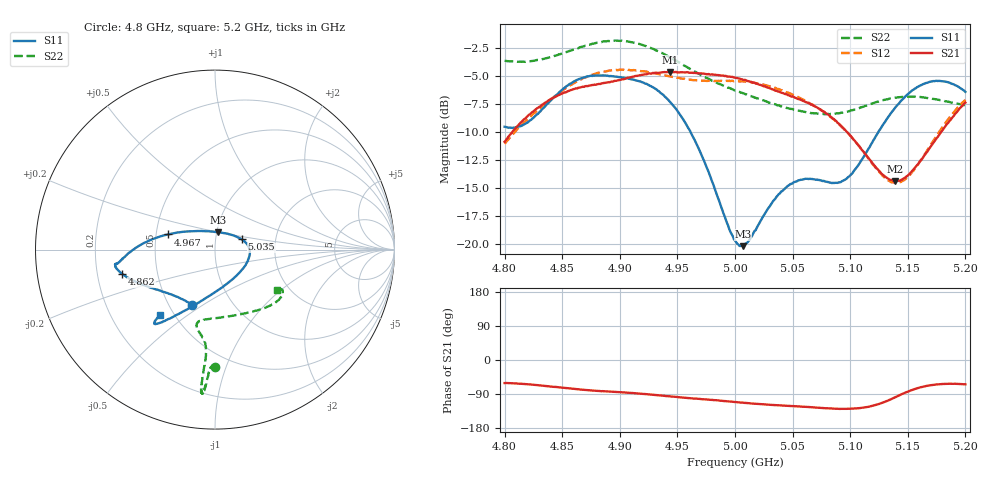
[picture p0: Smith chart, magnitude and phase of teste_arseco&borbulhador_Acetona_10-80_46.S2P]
! Network Analyzer HP8722D
! Hewlett-Packard
! Data name: Linha & Wilkinson
! Saver's name: Rodrigo Anjos
! Comments: Teste da utilização de aquisição
! continua pelo VNA HP8722D
! Time and date: 17/4/2025 14:44
!  Frequency  S11  S21  S12  S22
# HZ  S  MA R 50
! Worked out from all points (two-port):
!   401 points, 4.8 GHz to 5.2 GHz, reference 50 ohm
!   highest |S21| = -4.67 dB at 4.944 GHz (marker M1); lowest = -14.4 dB at 5.139 GHz (marker M2)
!   |S21| within 3 dB of the highest: 4.832 GHz to 5.068 GHz (236.2 MHz wide, 4.77 % of centre); 5.197552 GHz to end of sweep
!   lowest |S11| = -20.2 dB at 5.007 GHz (marker M3), VSWR 1.22, Z = 51 + j9.89 ohm
!   |S11| at or under -10 dB: 4.961 GHz to 5.125 GHz (163.2 MHz wide, 3.24 % of centre)
!   |S22| runs from -8.4 to -1.9 dB; largest |S21 - S12| = 0.88
!   S11 on the Smith chart (normalised r, x): 4.8 GHz: 0.65, -0.45; 4.862 GHz: 0.31, -0.12; 4.967 GHz: 0.58, +0.11; 5.035 GHz: 1.34, +0.16; 5.2 GHz: 0.42, -0.39
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4.8e9  0.3329 -113.1  0.2855 -60.8  0.2795 -174.9  0.6564 -89.9
4.819e9  0.346 -133.0  0.367 -63.8  0.356 -173.4  0.6494 -91.4
4.862e9  0.5351 -165.4  0.4936 -76.9  0.5273 -176.5  0.7418 -93.8
4.867e9  0.5481 -167.3  0.5003 -78.3  0.543 -177.5  0.7553 -93.9
4.881e9  0.5634 -170.9  0.5152 -81.5  0.5779 179.5  0.789 -94.5
4.903e9  0.5504 -171.9  0.5414 -85.4  0.5984 175.2  0.801 -95.3
4.934e9  0.479 -178.0  0.5792 -93.4  0.5717 172.0  0.7184 -95.6
4.944e9  0.4279 177.5  0.5842 -96.2  0.5569 172.0  0.6765 -95.4
4.967e9  0.2764 162.2  0.5779 -102.1  0.5358 173.9  0.5777 -94.9
5e9  0.1039 103.3  0.5501 -111.0  0.5322 176.4  0.4828 -99.0
5.007e9  0.09791 78.9  0.5382 -112.5  0.5291 176.3  0.4691 -100.7
5.035e9  0.1593 21.1  0.4813 -119.0  0.496 174.8  0.4193 -103.5
5.05e9  0.1865 5.7  0.4535 -121.7  0.4618 174.2  0.399 -99.6
5.067e9  0.195 -12.5  0.4167 -124.9  0.4188 173.8  0.3826 -91.1
5.087e9  0.1874 -44.5  0.355 -128.4  0.3542 173.7  0.3812 -75.9
5.098e9  0.1984 -67.3  0.3125 -128.8  0.3129 174.4  0.3892 -66.7
5.134e9  0.374 -115.8  0.1938 -105.4  0.1909 -158.3  0.444 -42.9
5.139e9  0.4046 -118.9  0.1908 -98.5  0.1877 -150.4  0.4485 -40.7
5.151e9  0.4694 -124.1  0.2042 -82.2  0.202 -131.7  0.4534 -36.3
5.17e9  0.5288 -128.4  0.2719 -66.5  0.2774 -112.6  0.445 -31.8
5.184e9  0.5265 -129.8  0.343 -63.0  0.3538 -107.1  0.4314 -30.9
5.2e9  0.476 -130.2  0.4264 -64.1  0.4389 -106.3  0.4149 -33.1
